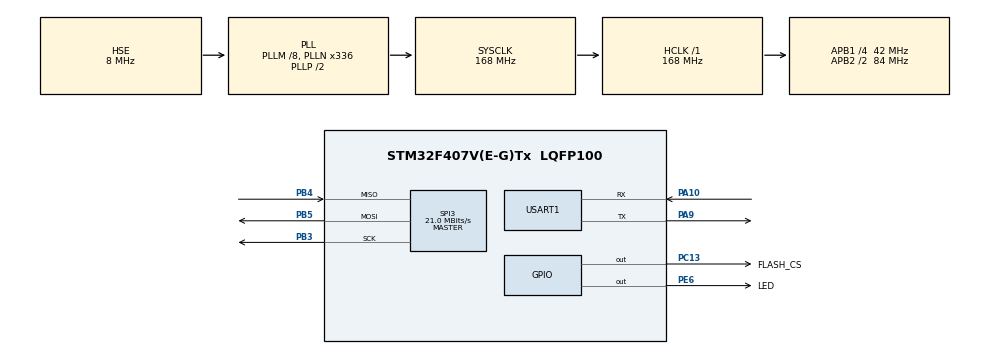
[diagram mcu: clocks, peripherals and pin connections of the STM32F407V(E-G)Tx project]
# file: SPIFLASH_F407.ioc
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Mcu.Family=STM32F4
Mcu.Name=STM32F407V(E-G)Tx
Mcu.Package=LQFP100
NVIC.PriorityGroup=NVIC_PRIORITYGROUP_4
NVIC.USART1_IRQn=true\:0\:0\:false\:false\:true\:true\:true
PA10.Mode=Asynchronous
PA10.Signal=USART1_RX
PA13.Mode=Serial_Wire
PA13.Signal=SYS_JTMS-SWDIO
PA14.Mode=Serial_Wire
PA14.Signal=SYS_JTCK-SWCLK
PA9.Mode=Asynchronous
PA9.Signal=USART1_TX
PB3.Mode=Full_Duplex_Master
PB3.Signal=SPI3_SCK
PB4.Mode=Full_Duplex_Master
PB4.Signal=SPI3_MISO
PB5.Mode=Full_Duplex_Master
PB5.Signal=SPI3_MOSI
PC13-ANTI_TAMP.GPIO_Label=FLASH_CS
PC13-ANTI_TAMP.PinState=GPIO_PIN_SET
PC13-ANTI_TAMP.Signal=GPIO_Output
PC14-OSC32_IN.Mode=LSE-External-Oscillator
PC14-OSC32_IN.Signal=RCC_OSC32_IN
PC15-OSC32_OUT.Mode=LSE-External-Oscillator
PC15-OSC32_OUT.Signal=RCC_OSC32_OUT
PE6.GPIO_Label=LED
PE6.PinState=GPIO_PIN_SET
PE6.Signal=GPIO_Output
PH0-OSC_IN.Mode=HSE-External-Oscillator
PH0-OSC_IN.Signal=RCC_OSC_IN
PH1-OSC_OUT.Mode=HSE-External-Oscillator
PH1-OSC_OUT.Signal=RCC_OSC_OUT
ProjectManager.HeapSize=0x200
ProjectManager.StackSize=0x400
ProjectManager.TargetToolchain=MDK-ARM V5.27
RCC.48MHZClocksFreq_Value=84000000
RCC.AHBFreq_Value=168000000
RCC.APB1CLKDivider=RCC_HCLK_DIV4
RCC.APB1Freq_Value=42000000
RCC.APB1TimFreq_Value=84000000
RCC.APB2CLKDivider=RCC_HCLK_DIV2
RCC.APB2Freq_Value=84000000
RCC.APB2TimFreq_Value=168000000
RCC.CortexFreq_Value=168000000
RCC.HCLKFreq_Value=168000000
RCC.HSE_VALUE=8000000
RCC.HSI_VALUE=16000000
RCC.PLLM=8
RCC.PLLN=336
RCC.PLLSourceVirtual=RCC_PLLSOURCE_HSE
RCC.SYSCLKFreq_VALUE=168000000
RCC.SYSCLKSource=RCC_SYSCLKSOURCE_PLLCLK
RCC.VCOOutputFreq_Value=336000000
SPI3.CLKPhase=SPI_PHASE_2EDGE
SPI3.CLKPolarity=SPI_POLARITY_HIGH
SPI3.CalculateBaudRate=21.0 MBits/s
SPI3.Direction=SPI_DIRECTION_2LINES
SPI3.Mode=SPI_MODE_MASTER
SPI3.VirtualType=VM_MASTER
USART1.VirtualMode=VM_ASYNC
board=custom

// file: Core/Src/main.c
/* USER CODE BEGIN Header */
/**
  ******************************************************************************
  * @file           : main.c
  * @brief          : Main program body
  ******************************************************************************
  * @attention
  *
  * <h2><center>&copy; Copyright (c) 2021 STMicroelectronics.
  * All rights reserved.</center></h2>
  *
  * This software component is licensed by ST under BSD 3-Clause license,
  * the "License"; You may not use this file except in compliance with the
  * License. You may obtain a copy of the License at:
  *                        opensource.org/licenses/BSD-3-Clause
  *
  ******************************************************************************
  */
/* USER CODE END Header */
#include "main.h"
#include "spi.h"
#include "usart.h"
#include "gpio.h"

/* USER CODE BEGIN Includes */
#include <stdio.h>
#include "w25qxx.h"
/* USER CODE END Includes */

/* USER CODE BEGIN PD */
typedef enum { FAILED = 0, PASSED = !FAILED} TestStatus;

/* 获取缓冲区的长度 */
#define TxBufferSize1   (countof(TxBuffer1) - 1)
#define RxBufferSize1   (countof(TxBuffer1) - 1)
#define countof(a)      (sizeof(a) / sizeof(*(a)))
#define  BufferSize (countof(Tx_Buffer)-1)

#define  FLASH_WriteAddress     0x00000
#define  FLASH_ReadAddress      FLASH_WriteAddress
#define  FLASH_SectorToErase    FLASH_WriteAddress
/* USER CODE END PD */

/* USER CODE BEGIN PV */
/* 发送缓冲区初始化 */
uint8_t Tx_Buffer[] = "感谢您选用野火stm32开发板\r\nhttp://firestm32.taobao.com";
uint8_t Rx_Buffer[BufferSize];

//读取的ID存储位置
__IO uint32_t DeviceID = 0;
__IO uint32_t FlashID = 0;
__IO TestStatus TransferStatus1 = FAILED;
/* USER CODE END PV */

void SystemClock_Config(void);

int main(void)
{

    /* MCU Configuration--------------------------------------------------------*/

    /* Reset of all peripherals, Initializes the Flash interface and the Systick. */
    HAL_Init();

    /* Configure the system clock */
    SystemClock_Config();

    /* Initialize all configured peripherals */
    MX_GPIO_Init();
    MX_USART1_UART_Init();
    MX_SPI3_Init();
    /* USER CODE BEGIN 2 */
    printf("SPI FLASH TEST.\r\n");
    /* USER CODE END 2 */
    W25QXX_Init();
    printf("Start Write W25Q32....\r\n");
    W25QXX_Write(Tx_Buffer, w25qxx.PageSize-200, BufferSize);
    printf("W25Q32 Write Finished!\r\n");

    printf("Start Read W25Q32....\r\n");
    W25QXX_Read(Rx_Buffer, w25qxx.PageSize-200, BufferSize);
    printf("The Data Readed Is: %s\r\n", Rx_Buffer);
    /* Infinite loop */
    while (1)
    {

    }
}

void SystemClock_Config(void)
{
    RCC_OscInitTypeDef RCC_OscInitStruct = {0};
    RCC_ClkInitTypeDef RCC_ClkInitStruct = {0};

    /** Configure the main internal regulator output voltage
    */
    __HAL_RCC_PWR_CLK_ENABLE();
    __HAL_PWR_VOLTAGESCALING_CONFIG(PWR_REGULATOR_VOLTAGE_SCALE1);
    /** Initializes the RCC Oscillators according to the specified parameters
    * in the RCC_OscInitTypeDef structure.
    */
    RCC_OscInitStruct.OscillatorType = RCC_OSCILLATORTYPE_HSE;
    RCC_OscInitStruct.HSEState = RCC_HSE_ON;
    RCC_OscInitStruct.PLL.PLLState = RCC_PLL_ON;
    RCC_OscInitStruct.PLL.PLLSource = RCC_PLLSOURCE_HSE;
    RCC_OscInitStruct.PLL.PLLM = 8;
    RCC_OscInitStruct.PLL.PLLN = 336;
    RCC_OscInitStruct.PLL.PLLP = RCC_PLLP_DIV2;
    RCC_OscInitStruct.PLL.PLLQ = 4;
    if (HAL_RCC_OscConfig(&RCC_OscInitStruct) != HAL_OK)
    {
        Error_Handler();
    }
    /** Initializes the CPU, AHB and APB buses clocks
    */
    RCC_ClkInitStruct.ClockType = RCC_CLOCKTYPE_HCLK|RCC_CLOCKTYPE_SYSCLK
                                  |RCC_CLOCKTYPE_PCLK1|RCC_CLOCKTYPE_PCLK2;
    RCC_ClkInitStruct.SYSCLKSource = RCC_SYSCLKSOURCE_PLLCLK;
    RCC_ClkInitStruct.AHBCLKDivider = RCC_SYSCLK_DIV1;
    RCC_ClkInitStruct.APB1CLKDivider = RCC_HCLK_DIV4;
    RCC_ClkInitStruct.APB2CLKDivider = RCC_HCLK_DIV2;

    if (HAL_RCC_ClockConfig(&RCC_ClkInitStruct, FLASH_LATENCY_5) != HAL_OK)
    {
        Error_Handler();
    }
}

void Error_Handler(void)
{
}

/************************ (C) COPYRIGHT STMicroelectronics *****END OF FILE****/
